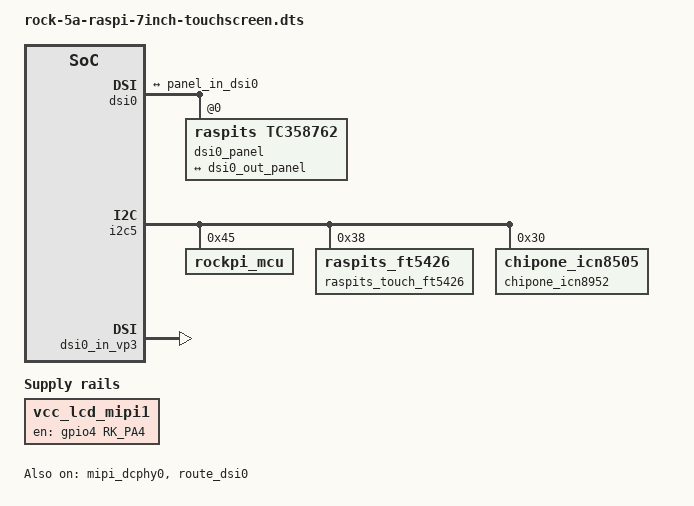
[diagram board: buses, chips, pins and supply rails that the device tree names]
/dts-v1/;
/plugin/;

#include <dt-bindings/interrupt-controller/irq.h>
#include <dt-bindings/gpio/gpio.h>
#include <dt-bindings/pinctrl/rockchip.h>

/ {
	metadata {
		title = "Enable Raspberry Pi 7-inch Touchscreen";
		compatible = "radxa,rock-5a", "radxa,rock-5c";
		category = "display";
		exclusive = "dsi0";
		description = "Enable Raspberry Pi 7-inch Touchscreen";
	};
};

&{/} {
	vcc_lcd_mipi1: vcc-lcd-mipi1 {
		status = "okay";
		compatible = "regulator-fixed";
		regulator-name = "vcc_lcd_mipi1";
		gpio = <&gpio4 RK_PA4 GPIO_ACTIVE_HIGH>;
		enable-active-high;
		regulator-boot-on;
		regulator-always-on;
		regulator-state-mem {
			regulator-off-in-suspend;
		};
	};
};

&dsi0 {
	status = "okay";
	#address-cells = <1>;
	#size-cells = <0>;
	rockchip,lane-rate = <600>;

	dsi0_panel: dsi-panel@0 {
		compatible = "raspits,tc358762";
		reg = <0x0>;
		status = "okay";
		rockchip,lane-rate = <600>;

		display_timings0: display-timings {
			native-mode = <&dsi0_timing>;

			dsi0_timing: timing0 {
				clock-frequency = <26000000>;
				hactive = <800>;
				vactive = <480>;

				hsync-len = <85>;
				hback-porch = <55>;
				hfront-porch = <43>;

				vsync-len = <12>;
				vback-porch = <7>;
				vfront-porch = <10>;

				hsync-active = <0>;
				vsync-active = <0>;
				de-active = <0>;
				pixelclk-active = <0>;
			};
		};

		ports {
			#address-cells = <1>;
			#size-cells = <0>;

			port@0 {
				reg = <0>;
				panel_in_dsi0: endpoint {
					remote-endpoint = <&dsi0_out_panel>;
				};
			};
		};
	};

	ports {
		#address-cells = <1>;
		#size-cells = <0>;

		port@1 {
			reg = <1>;
			dsi0_out_panel: endpoint {
				remote-endpoint = <&panel_in_dsi0>;
			};
		};
	};
};

&i2c5 {
	status = "okay";
	pinctrl-0 = <&i2c5m2_xfer>;
	#address-cells = <1>;
	#size-cells = <0>;

	rockpi_mcu: rockpi-mcu@45 {
		compatible = "rockpi_mcu";
		reg = <0x45>;
		platform = <3588>;
	};

	raspits_touch_ft5426: raspits-touch-ft5426@38 {
		compatible = "raspits_ft5426";
		reg = <0x38>;
	};

	chipone_icn8952: chipone_icn8952@30 {
		compatible = "chipone_icn8505";
		reg = <0x30>;
	};
};

&mipi_dcphy0 {
	status = "okay";
};

&route_dsi0 {
	status = "okay";
	connect = <&vp3_out_dsi0>;
};

&dsi0_in_vp2 {
	status = "disabled";
};

&dsi0_in_vp3 {
	status = "okay";
};
